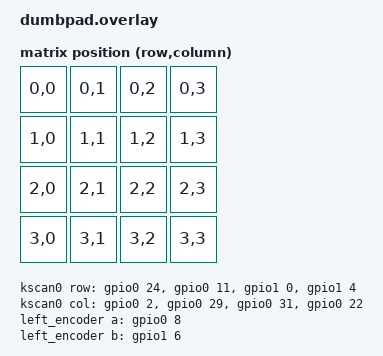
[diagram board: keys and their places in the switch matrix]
#include <dt-bindings/zmk/matrix_transform.h>

/ {
    chosen {
        zmk,kscan = &kscan0;
        zmk,matrix-transform = &default_transform;
    };

    /* Definisi Matrix Scanning GPIO (4 Rows x 4 Cols) */
    kscan0: kscan {
    compatible = "zmk,kscan-gpio-matrix";
    wakeup-source;
    diode-direction = "col2row";  // Changed from "COL2ROW"
    
    row-gpios
        = <&gpio0 24 (GPIO_ACTIVE_HIGH | GPIO_PULL_DOWN)>
        , <&gpio0 11 (GPIO_ACTIVE_HIGH | GPIO_PULL_DOWN)>
        , <&gpio1  0 (GPIO_ACTIVE_HIGH | GPIO_PULL_DOWN)>
        , <&gpio1  4 (GPIO_ACTIVE_HIGH | GPIO_PULL_DOWN)>
        ;
    
    col-gpios
        = <&gpio0  2 GPIO_ACTIVE_HIGH>
        , <&gpio0 29 GPIO_ACTIVE_HIGH>
        , <&gpio0 31 GPIO_ACTIVE_HIGH>
        , <&gpio0 22 GPIO_ACTIVE_HIGH>
        ;
    };

    /* Matrix Transform untuk memetakan tombol di ZMK Keymap */
    default_transform: matrix_transform {
        compatible = "zmk,matrix-transform";
        rows = <4>;
        columns = <4>;

        map = <
            RC(0,0) RC(0,1) RC(0,2) RC(0,3)
            RC(1,0) RC(1,1) RC(1,2) RC(1,3)
            RC(2,0) RC(2,1) RC(2,2) RC(2,3)
            RC(3,0) RC(3,1) RC(3,2) RC(3,3)
        >;
    };

    /* Definisi Hardware Rotary Encoder (Sisi Kiri Kiri-Bawah / Posisi X) */
    left_encoder: encoder_left {
        compatible = "alps,ec11";
        a-gpios = <&gpio0 8 (GPIO_ACTIVE_LOW | GPIO_PULL_UP)>;  // Pin A (B2)
        b-gpios = <&gpio1 6 (GPIO_ACTIVE_LOW | GPIO_PULL_UP)>;  // Pin B (B6)
        steps = <80>;
        status = "okay";
    };

    sensors: sensors {
        compatible = "zmk,keymap-sensors";
        sensors = <&left_encoder>;
        triggers-per-rotation = <20>;
    };
};
